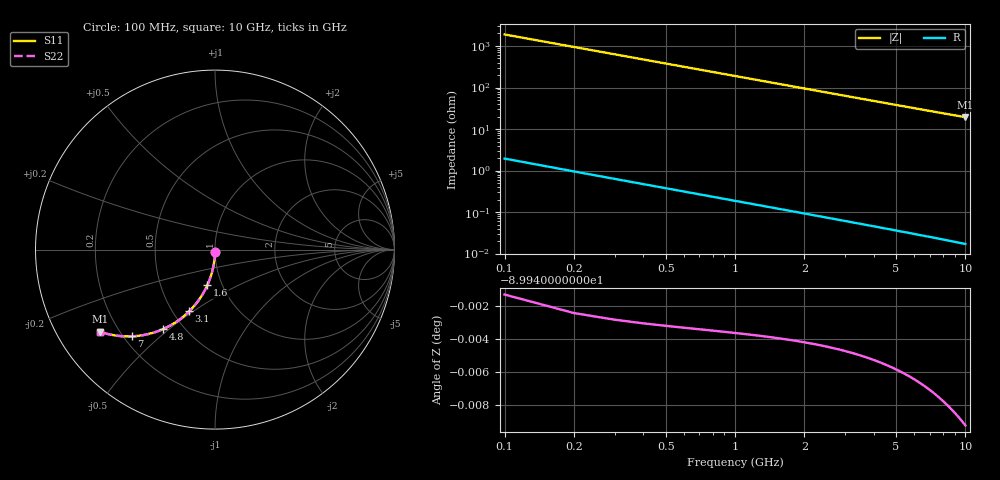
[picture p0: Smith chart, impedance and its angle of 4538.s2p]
# Hz S RI R 50.00
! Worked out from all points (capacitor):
!   100 points, 100 MHz to 10 GHz, reference 50 ohm
!   read as one part in shunt: C = 840 fF near 100 MHz
!   lowest |Z| = 19.3 ohm at 10 GHz (marker M1)
!   S11 on the Smith chart (normalised r, x): 100 MHz: 1.00, -0.03; 1.6 GHz: 0.85, -0.35; 3.1 GHz: 0.60, -0.48; 4.8 GHz: 0.39, -0.48; 7 GHz: 0.23, -0.41; 10 GHz: 0.13, -0.32
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1e8  -0.000107 -0.013  0.9997 -0.0134  0.9997 -0.0134  -0.000107 -0.013
2e8  -0.000641 -0.0259  0.9992 -0.0268  0.9992 -0.0268  -0.000641 -0.0259
3e8  -0.00152 -0.0389  0.9983 -0.0401  0.9983 -0.0401  -0.00152 -0.0389
4e8  -0.00275 -0.0518  0.9971 -0.0535  0.9971 -0.0535  -0.00275 -0.0518
5e8  -0.00432 -0.0646  0.9955 -0.0667  0.9955 -0.0667  -0.00432 -0.0646
6e8  -0.00622 -0.0774  0.9936 -0.0799  0.9936 -0.0799  -0.00622 -0.0774
7e8  -0.00846 -0.0901  0.9914 -0.093  0.9914 -0.093  -0.00846 -0.0901
9e8  -0.0139 -0.1152  0.9859 -0.119  0.9859 -0.119  -0.0139 -0.1152
1.2e9  -0.0245 -0.1519  0.9753 -0.157  0.9753 -0.157  -0.0245 -0.1519
1.6e9  -0.0428 -0.1987  0.957 -0.2055  0.957 -0.2055  -0.0428 -0.1987
1.8e9  -0.0535 -0.221  0.9463 -0.2286  0.9463 -0.2286  -0.0535 -0.221
2.4e9  -0.0914 -0.2828  0.9084 -0.2929  0.9084 -0.2929  -0.0914 -0.2828
3.1e9  -0.1438 -0.344  0.856 -0.357  0.856 -0.357  -0.1438 -0.344
3.4e9  -0.1681 -0.3664  0.8316 -0.3807  0.8316 -0.3807  -0.1681 -0.3664
4.1e9  -0.2272 -0.41  0.7724 -0.4273  0.7724 -0.4273  -0.2272 -0.41
4.8e9  -0.2875 -0.442  0.7121 -0.4623  0.7121 -0.4623  -0.2875 -0.442
5.1e9  -0.3131 -0.4525  0.6865 -0.4741  0.6865 -0.4741  -0.3131 -0.4525
5.9e9  -0.3792 -0.4722  0.6203 -0.4973  0.6203 -0.4973  -0.3792 -0.4722
6.7e9  -0.4411 -0.4818  0.5583 -0.5103  0.5583 -0.5103  -0.4411 -0.4818
7e9  -0.463 -0.4832  0.5364 -0.5131  0.5364 -0.5131  -0.463 -0.4832
8.4e9  -0.5548 -0.4784  0.4444 -0.5144  0.4444 -0.5144  -0.5548 -0.4784
1e10  -0.6396 -0.4579  0.3592 -0.501  0.3592 -0.501  -0.6396 -0.4579
